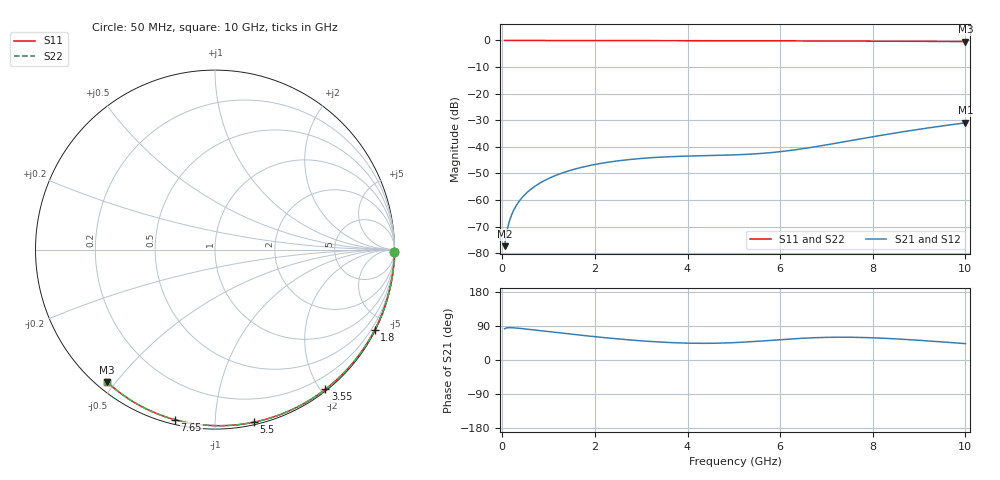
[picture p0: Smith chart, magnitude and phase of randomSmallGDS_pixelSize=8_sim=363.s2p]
! freq	dB(S11)	phase(S11)	dB(S12)	phase(S12)
!  dB(S21)	phase(S21)	dB(S22)	phase(S22)
!S-par simulation data
#  GHz  S  DB  R 50
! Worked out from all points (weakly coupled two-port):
!   200 points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, 50 MHz to 10 GHz, reference 50 ohm
!   highest |S21| = -30.95 dB at 10 GHz (marker M1); lowest = -77.3 dB at 50 MHz (marker M2)
!   lowest |S11| = -0.4 dB at 10 GHz (marker M3), VSWR 40.53, Z = 1.51 - j23.7 ohm
!   |S11| at or under -10 dB: nowhere
!   |S22| runs from -0.4 to 0.0 dB; largest |S21 - S12| = 0
!   S11 on the Smith chart (normalised r, x): 50 MHz: open; 1.8 GHz: 0.04, -4.20; 3.55 GHz: 0.02, -2.07; 5.5 GHz: 0.02, -1.25; 7.65 GHz: 0.02, -0.79; 10 GHz: 0.03, -0.47
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0.05  -0.00 -0.8  -77.32 82.7  -77.32 82.7  -0.00 -0.8
0.1  -0.00 -1.5  -71.55 84.9  -71.55 84.9  -0.00 -1.5
0.15  -0.00 -2.3  -68.08 85.3  -68.08 85.3  -0.00 -2.3
0.2  -0.00 -3.0  -65.60 85.2  -65.60 85.2  -0.00 -3.0
0.25  -0.00 -3.8  -63.68 84.8  -63.68 84.8  -0.00 -3.8
0.35  -0.00 -5.3  -60.78 83.8  -60.78 83.8  -0.00 -5.3
0.5  -0.01 -7.6  -57.71 81.9  -57.71 81.9  -0.01 -7.6
0.7  -0.01 -10.6  -54.85 79.1  -54.85 79.1  -0.01 -10.6
1  -0.02 -15.0  -51.88 74.9  -51.88 74.9  -0.02 -15.0
1.35  -0.03 -20.2  -49.48 70.1  -49.48 70.1  -0.03 -20.2
1.75  -0.03 -26.1  -47.54 64.7  -47.54 64.7  -0.03 -26.1
1.8  -0.03 -26.8  -47.34 64.1  -47.34 64.1  -0.03 -26.8
2.5  -0.05 -36.9  -45.24 55.6  -45.24 55.6  -0.05 -36.9
3.4  -0.07 -49.6  -43.87 47.4  -43.87 47.4  -0.07 -49.6
3.55  -0.07 -51.6  -43.74 46.5  -43.74 46.5  -0.07 -51.7
4.3  -0.09 -61.8  -43.33 44.0  -43.33 44.0  -0.09 -61.8
5.05  -0.11 -71.6  -42.98 46.1  -42.98 46.1  -0.11 -71.6
5.5  -0.12 -77.3  -42.58 49.3  -42.58 49.3  -0.12 -77.4
6.7  -0.18 -92.1  -40.12 58.6  -40.12 58.6  -0.18 -92.1
7.65  -0.23 -103.2  -37.26 59.8  -37.26 59.8  -0.23 -103.2
8.35  -0.28 -111.1  -35.17 56.7  -35.17 56.7  -0.28 -111.1
10  -0.43 -129.2  -30.95 43.2  -30.95 43.2  -0.43 -129.2
